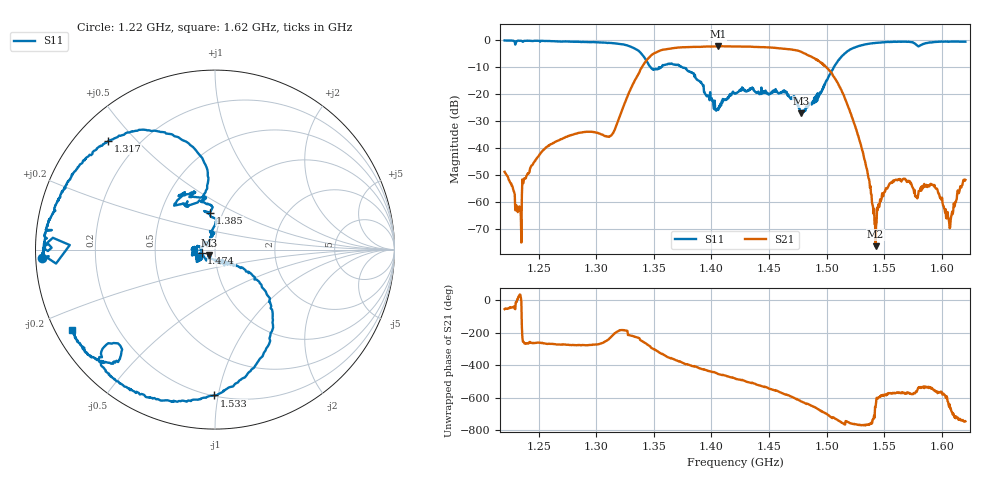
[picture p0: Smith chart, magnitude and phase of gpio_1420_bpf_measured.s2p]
! Component: 1420_filter
! Measured: 2026-11-13T12:25:13
! Device: NanoVNA-F_V2 fw 0.6.5
! Calibration: Manual (NOT ACTIVE)
! NanoVNASaver 0.7.3, verify_part.py
! Columns: S11 S21 S12 S22 (S12, S22 not measured)
# HZ S RI R 50
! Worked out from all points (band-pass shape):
!   909 points, 1.22 GHz to 1.62 GHz, reference 50 ohm
!   highest |S21| = -2.44 dB at 1.405 GHz (marker M1); lowest = -76.2 dB at 1.542 GHz (marker M2)
!   |S21| within 3 dB of the highest: 1.349 GHz to 1.482 GHz (133.5 MHz wide, 9.43 % of centre)
!   lowest |S11| = -27.2 dB at 1.478 GHz (marker M3), VSWR 1.09, Z = 46.8 - j2.81 ohm
!   |S11| at or under -10 dB: 1.347 GHz to 1.357 GHz (10.27 MHz wide, 0.76 % of centre); 1.374 GHz to 1.506 GHz (132.8 MHz wide, 9.22 % of centre)
!   S12 and S22 are empty: the file has one direction only
!   S11 on the Smith chart (normalised r, x): 1.22 GHz: 0.02, -0.03; 1.317 GHz: 0.10, +0.42; 1.385 GHz: 0.87, +0.38; 1.474 GHz: 0.86, -0.04; 1.533 GHz: 0.20, -0.98; 1.62 GHz: 0.05, -0.26
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1.220406e9  -0.9629 -0.0484  0.00206 -0.00302  0 0  0 0
1.233181e9  -0.9518 0.00103  0.000733 0.000411  0 0  0 0
1.237587e9  -0.9474 0.00962  -0.000203 0.00277  0 0  0 0
1.252124e9  -0.9392 0.109  -0.000987 0.00823  0 0  0 0
1.287366e9  -0.8322 0.3442  0.00231 0.0192  0 0  0 0
1.317322e9  -0.5934 0.6061  -0.0245 0.00749  0 0  0 0
1.338027e9  -0.1229 0.5716  -0.1163 0.2459  0 0  0 0
1.353886e9  -0.1622 0.24  0.4484 0.4097  0 0  0 0
1.385164e9  -0.0275 0.2061  0.52 -0.5173  0 0  0 0
1.405428e9  -0.0391 0.0365  -0.0406 -0.7541  0 0  0 0
1.420406e9  -0.1007 -0.0106  -0.3836 -0.6408  0 0  0 0
1.449481e9  -0.0928 -0.0286  -0.7175 0.0222  0 0  0 0
1.47371e9  -0.074 -0.0202  -0.2363 0.5889  0 0  0 0
1.478115e9  -0.0319 -0.03  -0.0752 0.5876  0 0  0 0
1.487366e9  0.0167 -0.0653  0.163 0.4452  0 0  0 0
1.511155e9  0.3134 -0.3143  0.1237 -0.0527  0 0  0 0
1.533181e9  -0.00303 -0.8129  0.00411 -0.00418  0 0  0 0
1.542432e9  -0.2012 -0.8434  7.1e-05 0.000138  0 0  0 0
1.553886e9  -0.3943 -0.8097  -0.00178 0.00105  0 0  0 0
1.591771e9  -0.638 -0.6219  -0.0021 0.000136  0 0  0 0
1.606749e9  -0.7394 -0.5425  6e-05 0.000326  0 0  0 0
1.620405e9  -0.7973 -0.4456  0.00237 -0.00105  0 0  0 0
